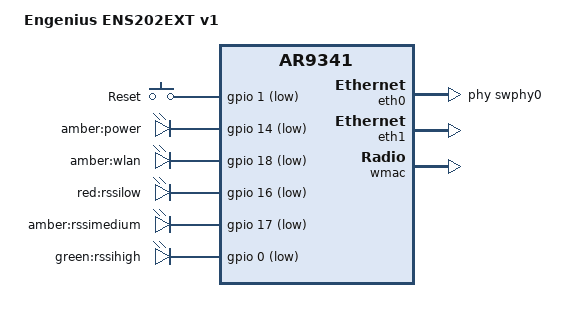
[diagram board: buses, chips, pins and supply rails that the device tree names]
// SPDX-License-Identifier: GPL-2.0-or-later OR MIT

#include "ar9341.dtsi"
#include "ar934x_senao_loader.dtsi"

#include <dt-bindings/gpio/gpio.h>
#include <dt-bindings/input/input.h>

/ {
	model = "Engenius ENS202EXT v1";
	compatible = "engenius,ens202ext-v1", "qca,ar9341";

	aliases {
		led-boot = &led_power;
		led-failsafe = &led_power;
		led-running = &led_power;
		led-upgrade = &led_power;
	};

	keys {
		compatible = "gpio-keys";

		reset {
			label = "Reset";
			linux,code = <KEY_RESTART>;
			gpios = <&gpio 1 GPIO_ACTIVE_LOW>;
			debounce-interval = <60>;
		};
	};

	leds {
		compatible = "gpio-leds";

		led_power: power {
			label = "amber:power";
			gpios = <&gpio 14 GPIO_ACTIVE_LOW>;
			default-state = "on";
		};

		wlan {
			label = "amber:wlan";
			gpios = <&gpio 18 GPIO_ACTIVE_LOW>;
			linux,default-trigger = "phy0tpt";
		};

		rssilow {
			label = "red:rssilow";
			gpios = <&gpio 16 GPIO_ACTIVE_LOW>;
		};

		rssimedium {
			label = "amber:rssimedium";
			gpios = <&gpio 17 GPIO_ACTIVE_LOW>;
		};

		rssihigh {
			label = "green:rssihigh";
			gpios = <&gpio 0 GPIO_ACTIVE_LOW>;
		};
	};
};

&eth0 {
	status = "okay";

	phy-handle = <&swphy0>;

	mtd-mac-address = <&art 0x0>;
};

&eth1 {
	status = "okay";

	mtd-mac-address = <&art 0x0>;

	gmac-config {
		device = <&gmac>;
		switch-phy-swap = <1>;
	};
};

&wmac {
	status = "okay";

	mtd-cal-data = <&art 0x1000>;
};
